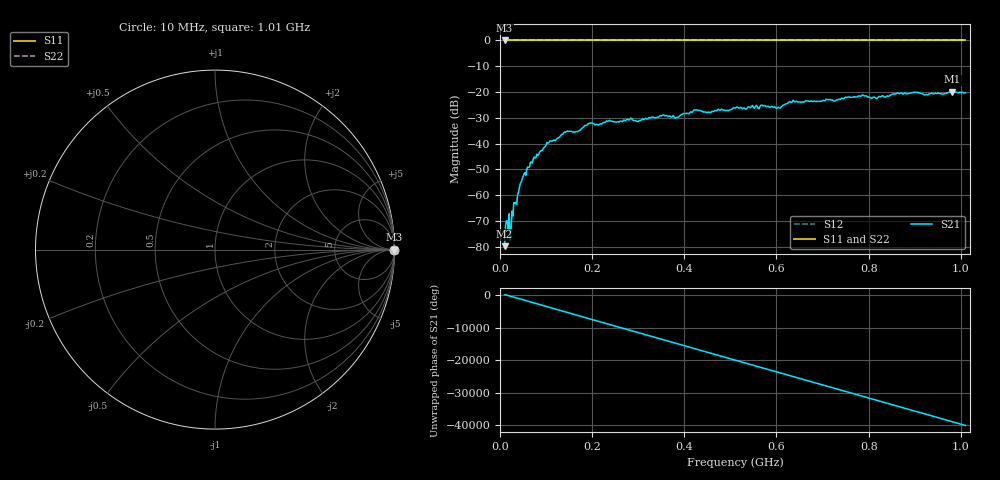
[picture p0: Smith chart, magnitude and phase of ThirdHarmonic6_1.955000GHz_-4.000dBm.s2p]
! 8/16/2025 11:31:59 PM
! C:\ANRITSUVNA\TEMP\TEMP.S2P
! CHANNEL.1
! TR.MEASUREMENT
! RAW.DATA
! RF.CORRECTION.OFF
! AVERAGING.OFF
! IF.BANDWIDTH: 5KHZ
! SWEEPTYPE:  FREQ.SWEEP(Linear)
! Reference Plane Port Info
! PORT:  PORT1  PORT2
! DISTANCE:  0  m  0  m
! TIME:  0  s  0  s
! PHASE.OFFSET:  0  deg.  0  deg.
! LOSS:  0  dB  0  dB
! REF.LOSS:  0  dB  0  dB
! REF.FREQ:  0  Hz  0  Hz
! Power Info
! POWER:  -20  dBm  -20  dBm
! EFF.POWER:  -20  dBm  -20  dBm
! SOURCE.ATTEN:  0  dB  0  dB
! TEST.ATTEN:  0  dB  0  dB
# GHZ S RI R 50.0
! FREQ.GHZ  S11RE  S11IM  S21RE  S21IM  S12RE  S12IM  S22RE  S22IM
!; PortSelection: Port_12
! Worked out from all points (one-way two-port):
!   501 points, 10 MHz to 1.01 GHz, reference 50 ohm
!   highest |S21| = -19.88 dB at 982 MHz (marker M1); lowest = -79.8 dB at 10 MHz (marker M2)
!   lowest |S11| = 0.0 dB at 10 MHz (marker M3)
!   |S11| at or under -10 dB: nowhere
!   |S22| runs from 0.0 to 0.0 dB; largest |S21 - S12| = 1.1
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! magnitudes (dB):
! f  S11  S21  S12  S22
! 10 MHz  0.0  -79.8  0.0  0.0
! 16 MHz  0.0  -70.1  0.0  0.0
! 20 MHz  0.0  -67.2  0.0  0.0
! 26 MHz  0.0  -66.1  0.0  0.0
! 30 MHz  0.0  -62.9  0.0  0.0
! 48 MHz  0.0  -53.9  0.0  0.0
! 70 MHz  0.0  -47.6  0.0  0.0
! 106 MHz  0.0  -39.7  0.0  0.0
! 142 MHz  0.0  -35.6  0.0  0.0
! 178 MHz  0.0  -34.1  0.0  0.0
! 196 MHz  0.0  -32.1  0.0  0.0
! 344 MHz  0.0  -29.7  0.0  0.0
! 382 MHz  0.0  -29.9  0.0  0.0
! 424 MHz  0.0  -27.0  0.0  0.0
! 454 MHz  0.0  -27.9  0.0  0.0
! 510 MHz  0.0  -26.2  0.0  0.0
! 604 MHz  0.0  -25.9  0.0  0.0
! 632 MHz  0.0  -24.0  0.0  0.0
! 678 MHz  0.0  -23.7  0.0  0.0
! 844 MHz  0.0  -21.6  0.0  0.0
! 982 MHz  0.0  -19.9  0.0  0.0
! 1.01 GHz  0.0  -20.3  0.0  0.0
